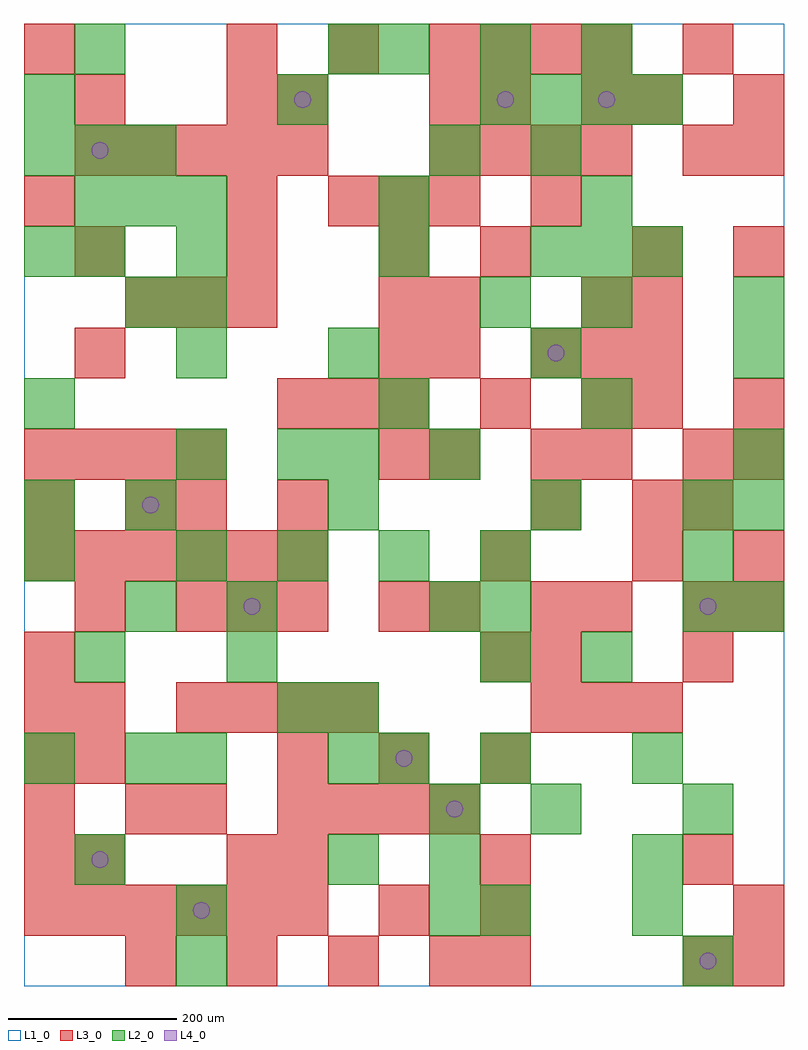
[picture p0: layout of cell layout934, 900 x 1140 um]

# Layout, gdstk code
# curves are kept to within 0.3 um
import gdstk
lib = gdstk.Library(unit=1e-6, precision=1e-09)
def R(c, l, rs):  # rectangles x0, y0, x1, y1
    for r in rs: c.add(gdstk.rectangle(r[:2], r[2:], *l))
def A(c, l, x, y, w, h, nx, ny, dx, dy):  # array of equal rectangles
    R(c, l, [(x+i*dx, y+j*dy, x+i*dx+w, y+j*dy+h) for i in range(nx) for j in range(ny)])
def P(c, l, *ps):  # polygons
    for p in ps: c.add(gdstk.Polygon(p, *l))
L1_0 = (1, 0)
L2_0 = (2, 0)
L3_0 = (3, 0)
L4_0 = (4, 0)

layout934 = lib.new_cell('layout934')
R(layout934, L1_0, [(0,0,900,1140)])
A(layout934, L2_0, 480, 60, 60, 60, 1, 3, 0, 60)
A(layout934, L2_0, 780, 420, 60, 60, 1, 3, 0, 60)
A(layout934, L2_0, 180, 480, 60, 60, 4, 1, 120, 0)
A(layout934, L2_0, 120, 540, 60, 60, 3, 1, 240, 0)
A(layout934, L2_0, 0, 660, 60, 60, 1, 3, 0, 180)
A(layout934, L2_0, 660, 660, 60, 60, 1, 3, 0, 120)
A(layout934, L2_0, 180, 720, 60, 60, 1, 3, 0, 60)
A(layout934, L2_0, 360, 720, 60, 60, 3, 1, 240, 0)
A(layout934, L2_0, 600, 840, 60, 60, 3, 1, 60, 0)
A(layout934, L2_0, 60, 900, 60, 60, 3, 1, 60, 0)
A(layout934, L2_0, 0, 960, 60, 60, 3, 1, 60, 0)
A(layout934, L2_0, 540, 1020, 60, 60, 4, 1, 60, 0)
A(layout934, L2_0, 420, 1080, 60, 60, 3, 1, 120, 0)
R(layout934, L2_0, [(180,0,240,60), (780,0,840,60), (180,60,240,120), (540,60,600,120), (720,60,780,120), (60,120,120,180), (360,120,420,180), (720,120,780,180), (600,180,660,240), (780,180,840,240), (0,240,60,300), (120,240,180,300), (180,240,240,300), (360,240,420,300), (420,240,480,300), (540,240,600,300), (720,240,780,300), (300,300,360,360), (360,300,420,360), (60,360,120,420), (240,360,300,420), (540,360,600,420), (660,360,720,420), (120,420,180,480), (240,420,300,480), (480,420,540,480), (540,420,600,480), (840,420,900,480), (0,480,60,540), (0,540,60,600), (840,540,900,600), (180,600,240,660), (300,600,360,660), (360,600,420,660), (480,600,540,660), (840,600,900,660), (420,660,480,720), (120,780,180,840), (540,780,600,840), (840,780,900,840), (60,840,120,900), (420,840,480,900), (420,900,480,960), (480,960,540,1020), (600,960,660,1020), (300,1020,360,1080), (60,1080,120,1140), (360,1080,420,1140)])
A(layout934, L3_0, 120, 0, 60, 60, 4, 1, 120, 0)
A(layout934, L3_0, 0, 60, 60, 60, 6, 2, 60, 420)
A(layout934, L3_0, 0, 120, 60, 60, 1, 5, 0, 60)
A(layout934, L3_0, 300, 120, 60, 60, 3, 1, 240, 0)
A(layout934, L3_0, 300, 180, 60, 60, 4, 1, 60, 0)
A(layout934, L3_0, 300, 240, 60, 60, 3, 1, 120, 0)
A(layout934, L3_0, 180, 300, 60, 60, 4, 1, 60, 0)
A(layout934, L3_0, 600, 300, 60, 60, 3, 2, 60, 420)
A(layout934, L3_0, 60, 420, 60, 60, 1, 3, 0, 300)
A(layout934, L3_0, 180, 420, 60, 60, 3, 1, 60, 0)
A(layout934, L3_0, 540, 480, 60, 60, 1, 4, 0, 180)
A(layout934, L3_0, 720, 540, 60, 60, 1, 3, 0, 120)
A(layout934, L3_0, 0, 600, 60, 60, 4, 1, 60, 0)
A(layout934, L3_0, 300, 660, 60, 60, 3, 1, 60, 0)
A(layout934, L3_0, 120, 780, 60, 60, 3, 1, 60, 0)
A(layout934, L3_0, 60, 840, 60, 60, 3, 1, 180, 0)
A(layout934, L3_0, 360, 900, 60, 60, 3, 1, 60, 0)
A(layout934, L3_0, 60, 960, 60, 60, 5, 1, 60, 0)
A(layout934, L3_0, 480, 960, 60, 60, 4, 1, 60, 0)
A(layout934, L3_0, 240, 1080, 60, 60, 3, 1, 120, 0)
A(layout934, L3_0, 540, 1080, 60, 60, 3, 1, 60, 0)
R(layout934, L3_0, [(540,0,600,60), (780,0,840,60), (840,0,900,60), (420,60,480,120), (540,60,600,120), (840,60,900,120), (60,120,120,180), (240,120,300,180), (120,180,180,240), (180,180,240,240), (60,240,120,300), (60,300,120,360), (540,360,600,420), (600,360,660,420), (780,360,840,420), (420,420,480,480), (480,420,540,480), (600,420,660,480), (660,420,720,480), (780,420,840,480), (840,420,900,480), (720,480,780,540), (840,480,900,540), (0,540,60,600), (120,540,180,600), (180,540,240,600), (300,540,360,600), (600,540,660,600), (780,540,840,600), (420,600,480,660), (480,600,540,660), (600,600,660,660), (660,600,720,660), (780,600,840,660), (840,600,900,660), (660,660,720,720), (840,660,900,720), (420,720,480,780), (480,720,540,780), (420,780,480,840), (480,780,540,840), (660,780,720,840), (720,840,780,900), (840,840,900,900), (0,900,60,960), (240,900,300,960), (600,900,660,960), (780,960,840,1020), (840,960,900,1020), (240,1020,300,1080), (300,1020,360,1080), (480,1020,540,1080), (660,1020,720,1080), (720,1020,780,1080), (840,1020,900,1080), (0,1080,60,1140), (780,1080,840,1140)])
P(layout934, L4_0, [(100,150),(99.239,153.827),(97.071,157.071),(93.827,159.239),(90,160),(86.173,159.239),(82.929,157.071),(80.761,153.827),(80,150),(80.761,146.173),(82.929,142.929),(86.173,140.761),(90,140),(93.827,140.761),(97.071,142.929),(99.239,146.173)],
  [(100,990),(99.239,993.827),(97.071,997.071),(93.827,999.239),(90,1000),(86.173,999.239),(82.929,997.071),(80.761,993.827),(80,990),(80.761,986.173),(82.929,982.929),(86.173,980.761),(90,980),(93.827,980.761),(97.071,982.929),(99.239,986.173)],
  [(160,570),(159.239,573.827),(157.071,577.071),(153.827,579.239),(150,580),(146.173,579.239),(142.929,577.071),(140.761,573.827),(140,570),(140.761,566.173),(142.929,562.929),(146.173,560.761),(150,560),(153.827,560.761),(157.071,562.929),(159.239,566.173)],
  [(220,90),(219.239,93.827),(217.071,97.071),(213.827,99.239),(210,100),(206.173,99.239),(202.929,97.071),(200.761,93.827),(200,90),(200.761,86.173),(202.929,82.929),(206.173,80.761),(210,80),(213.827,80.761),(217.071,82.929),(219.239,86.173)],
  [(280,450),(279.239,453.827),(277.071,457.071),(273.827,459.239),(270,460),(266.173,459.239),(262.929,457.071),(260.761,453.827),(260,450),(260.761,446.173),(262.929,442.929),(266.173,440.761),(270,440),(273.827,440.761),(277.071,442.929),(279.239,446.173)],
  [(340,1050),(339.239,1053.827),(337.071,1057.071),(333.827,1059.239),(330,1060),(326.173,1059.239),(322.929,1057.071),(320.761,1053.827),(320,1050),(320.761,1046.173),(322.929,1042.929),(326.173,1040.761),(330,1040),(333.827,1040.761),(337.071,1042.929),(339.239,1046.173)],
  [(460,270),(459.239,273.827),(457.071,277.071),(453.827,279.239),(450,280),(446.173,279.239),(442.929,277.071),(440.761,273.827),(440,270),(440.761,266.173),(442.929,262.929),(446.173,260.761),(450,260),(453.827,260.761),(457.071,262.929),(459.239,266.173)],
  [(520,210),(519.239,213.827),(517.071,217.071),(513.827,219.239),(510,220),(506.173,219.239),(502.929,217.071),(500.761,213.827),(500,210),(500.761,206.173),(502.929,202.929),(506.173,200.761),(510,200),(513.827,200.761),(517.071,202.929),(519.239,206.173)],
  [(580,1050),(579.239,1053.827),(577.071,1057.071),(573.827,1059.239),(570,1060),(566.173,1059.239),(562.929,1057.071),(560.761,1053.827),(560,1050),(560.761,1046.173),(562.929,1042.929),(566.173,1040.761),(570,1040),(573.827,1040.761),(577.071,1042.929),(579.239,1046.173)],
  [(640,750),(639.239,753.827),(637.071,757.071),(633.827,759.239),(630,760),(626.173,759.239),(622.929,757.071),(620.761,753.827),(620,750),(620.761,746.173),(622.929,742.929),(626.173,740.761),(630,740),(633.827,740.761),(637.071,742.929),(639.239,746.173)],
  [(700,1050),(699.239,1053.827),(697.071,1057.071),(693.827,1059.239),(690,1060),(686.173,1059.239),(682.929,1057.071),(680.761,1053.827),(680,1050),(680.761,1046.173),(682.929,1042.929),(686.173,1040.761),(690,1040),(693.827,1040.761),(697.071,1042.929),(699.239,1046.173)],
  [(820,30),(819.239,33.827),(817.071,37.071),(813.827,39.239),(810,40),(806.173,39.239),(802.929,37.071),(800.761,33.827),(800,30),(800.761,26.173),(802.929,22.929),(806.173,20.761),(810,20),(813.827,20.761),(817.071,22.929),(819.239,26.173)],
  [(820,450),(819.239,453.827),(817.071,457.071),(813.827,459.239),(810,460),(806.173,459.239),(802.929,457.071),(800.761,453.827),(800,450),(800.761,446.173),(802.929,442.929),(806.173,440.761),(810,440),(813.827,440.761),(817.071,442.929),(819.239,446.173)])

lib.write_gds('layout934.gds')
